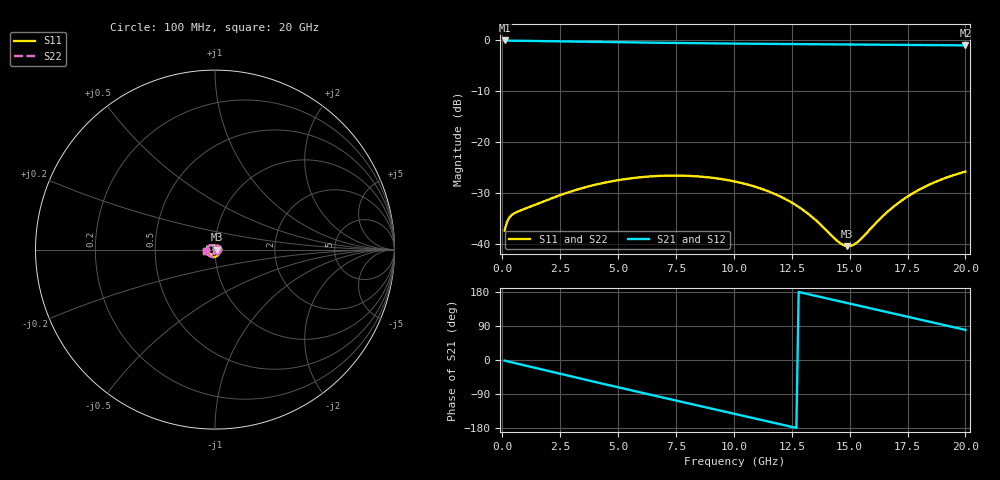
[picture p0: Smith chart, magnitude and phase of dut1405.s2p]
! Touchstone file exported from HFSS 2026.1.0
!  File:  C:/ffzhzh/LocalFiles/Ansys_Project_Files/temp_train_TSV_RDL_1405_1783352330_4416.aedt
!  Generated:  11:46:24 PM Jul  6, 2026
!  Design:  TSV_RDL
!  Project:  temp_train_TSV_RDL_1405_1783352330_4416
! Variables:
!  h_bsmrdl = 5.22um
!  h_ox = 20um
!  h_rdl = 5um
!  h_sub = 50.99um
!  h_tmrdl = 5.31um
!  h_tsv = 50.99um
!  h_via = 3um
!  l_bsmrdl = 538.43um
!  l_sub = 5137.46um
!  l_tmrdl = 736.81um
!  m_sub = 200um
!  pitch = 34.5um
!  r_tsv = 10.16um
!  s_tmrdl = 10um
!  w_bsmrdl = 29.53um
!  w_sub = 500um
!  w_tmrdl = 28.78um
!  x_tsv_center1 = 751.2um
!  x_tsv_center2 = 1319.16um
!  x_tsv_center3 = 2084.75um
!  x_tsv_center4 = 2652.71um
!  x_tsv_center5 = 3418.3um
!  x_tsv_center6 = 3986.26um
# GHz S MA R 50.000000
! Terminal data exported
! Port[1] = TM_RDL1_1_T1
! Port[2] = TM_RDL5_1_T1
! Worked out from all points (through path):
!   200 points, 100 MHz to 20 GHz, reference 50 ohm
!   highest |S21| = -0.11 dB at 100 MHz (marker M1); lowest = -1.1 dB at 20 GHz (marker M2)
!   group delay of S21, straight-line fit = 38.8 ps
!   lowest |S11| = -40.4 dB at 14.9 GHz (marker M3), VSWR 1.02, Z = 51 - j0.0629 ohm
!   |S11| at or under -10 dB: start of sweep to end of sweep
!   |S22| runs from -40.3 to -25.9 dB; largest |S21 - S12| = 8.2e-14
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0.1  0.01359 13.4  0.9869 -1.7  0.9869 -1.7  0.01359 13.4
! Gamma 0 0 0 0
! Port Impedance 50 0 50 0
0.2  0.01639 13.8  0.9843 -3.2  0.9843 -3.2  0.01639 13.8
0.3  0.01816 10.5  0.9824 -4.7  0.9824 -4.7  0.01816 10.5
0.5  0.01995 4.1  0.9802 -7.6  0.9802 -7.6  0.01995 4.1
1.9  0.02686 -26.3  0.972 -27.9  0.972 -27.9  0.02682 -26.3
3.5  0.03562 -63.9  0.9599 -50.8  0.9599 -50.8  0.0355 -64.0
4.4  0.0399 -85.1  0.9531 -63.5  0.9531 -63.5  0.03973 -85.2
5.2  0.04299 -103.4  0.9473 -74.8  0.9473 -74.8  0.04279 -103.6
6  0.04527 -121.1  0.9419 -86.0  0.9419 -86.0  0.04503 -121.3
6.8  0.0466 -138.1  0.9368 -97.2  0.9368 -97.2  0.04635 -138.4
8.4  0.04613 -171.0  0.9276 -119.5  0.9276 -119.5  0.04589 -171.4
10.1  0.04079 155.0  0.9192 -143.2  0.9192 -143.2  0.04062 154.4
11.8  0.03075 119.6  0.9122 -166.7  0.9122 -166.7  0.0307 118.8
12.6  0.02473 100.8  0.9093 -177.8  0.9093 -177.8  0.02474 100.0
13.4  0.01827 78.1  0.9065 171.1  0.9065 171.1  0.01835 77.3
14.5  0.01059 26.5  0.9029 155.8  0.9029 155.8  0.01073 26.1
14.9  0.009552 -3.7  0.9017 150.3  0.9017 150.3  0.009654 -3.6
15.4  0.01076 -42.0  0.9 143.3  0.9 143.3  0.01077 -41.7
16.7  0.02135 -99.7  0.8957 125.3  0.8957 125.3  0.02118 -99.9
17.5  0.02921 -120.4  0.8929 114.2  0.8929 114.2  0.02898 -120.9
18.4  0.03788 -139.7  0.8897 101.7  0.8897 101.7  0.03762 -140.3
20  0.05125 -169.7  0.8837 79.5  0.8837 79.5  0.05098 -170.5
